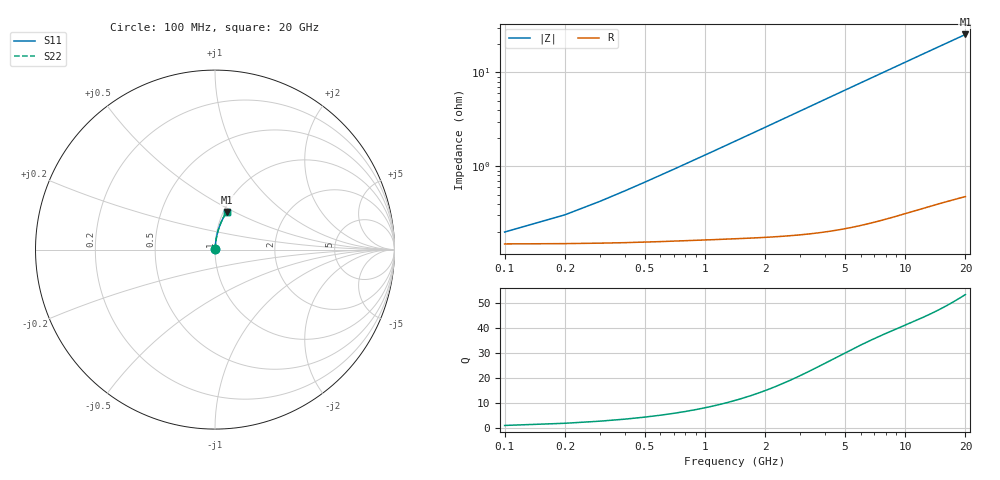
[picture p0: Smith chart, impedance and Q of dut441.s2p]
! Touchstone file exported from HFSS 2026.1.0
!  File:  C:/ffzhzh/LocalFiles/Ansys_Project_Files/temp_train_TMRDL_441_1783005633_55676.aedt
!  Generated:  11:21:56 PM Jul  2, 2026
!  Design:  TMRDL
!  Project:  temp_train_TMRDL_441_1783005633_55676
! Variables:
!  h_bsmrdl = 2um
!  h_ox = 20um
!  h_rdl = 5um
!  h_sub = 80um
!  h_tmrdl = 3.49um
!  h_tsv = 80um
!  h_via = 3um
!  l_bsmrdl = 300um
!  l_sub = 534.88um
!  l_tmrdl = 134.88um
!  m_sub = 200um
!  pitch = 56.97um
!  r_tsv = 6um
!  s_tmrdl = 10um
!  w_bsmrdl = 18um
!  w_sub = 500um
!  w_tmrdl = 10.23um
!  x_tsv_center1 = 139.995um
!  x_tsv_center2 = 457.995um
!  x_tsv_center3 = 603.105um
!  x_tsv_center4 = 921.105um
!  x_tsv_center5 = 1066.215um
!  x_tsv_center6 = 1384.215um
# GHz S MA R 50.000000
! Terminal data exported
! Port[1] = TM_RDL1_1_T1
! Port[2] = TM_RDL1_1_T2
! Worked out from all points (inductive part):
!   200 points, 100 MHz to 20 GHz, reference 50 ohm
!   read as one part in series: L = 209 pH near 400 MHz
!   highest Q = 53.4 at 20 GHz (marker M1), where L = 202 pH
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0.1  0.001899 38.4  0.9985 -0.1  0.9985 -0.1  0.001899 38.4
! Gamma 0 0 0 0
! Port Impedance 50 0 50 0
0.2  0.002794 57.4  0.9985 -0.2  0.9985 -0.2  0.002794 57.4
0.3  0.003842 66.5  0.9985 -0.3  0.9985 -0.3  0.003842 66.5
0.4  0.004941 71.6  0.9985 -0.3  0.9985 -0.3  0.004941 71.6
0.5  0.00606 74.7  0.9984 -0.4  0.9984 -0.4  0.00606 74.7
0.6  0.007188 76.8  0.9984 -0.5  0.9984 -0.5  0.007188 76.8
0.8  0.009456 79.5  0.9983 -0.7  0.9983 -0.7  0.009456 79.5
1.1  0.01287 81.7  0.9983 -0.9  0.9983 -0.9  0.01287 81.7
1.5  0.01744 83.2  0.9982 -1.2  0.9982 -1.2  0.01744 83.2
1.8  0.02087 83.8  0.9981 -1.5  0.9981 -1.5  0.02087 83.8
2.1  0.0243 84.1  0.9979 -1.7  0.9979 -1.7  0.0243 84.1
2.7  0.03117 84.4  0.9977 -2.2  0.9977 -2.2  0.03117 84.4
3.5  0.04031 84.4  0.9973 -2.9  0.9973 -2.9  0.04031 84.4
4.2  0.0483 84.1  0.9968 -3.5  0.9968 -3.5  0.0483 84.1
5  0.05739 83.7  0.9962 -4.1  0.9962 -4.1  0.05739 83.7
5.9  0.06757 83.2  0.9954 -4.8  0.9954 -4.8  0.06757 83.2
6.8  0.0777 82.6  0.9945 -5.6  0.9945 -5.6  0.0777 82.6
8.3  0.09447 81.5  0.9928 -6.8  0.9928 -6.8  0.09447 81.5
10.1  0.1144 80.2  0.9903 -8.2  0.9903 -8.2  0.1144 80.2
13.4  0.1502 77.8  0.985 -10.8  0.985 -10.8  0.1502 77.8
16.7  0.1852 75.3  0.9785 -13.4  0.9785 -13.4  0.1852 75.3
20  0.2192 72.8  0.9711 -15.9  0.9711 -15.9  0.2192 72.8
